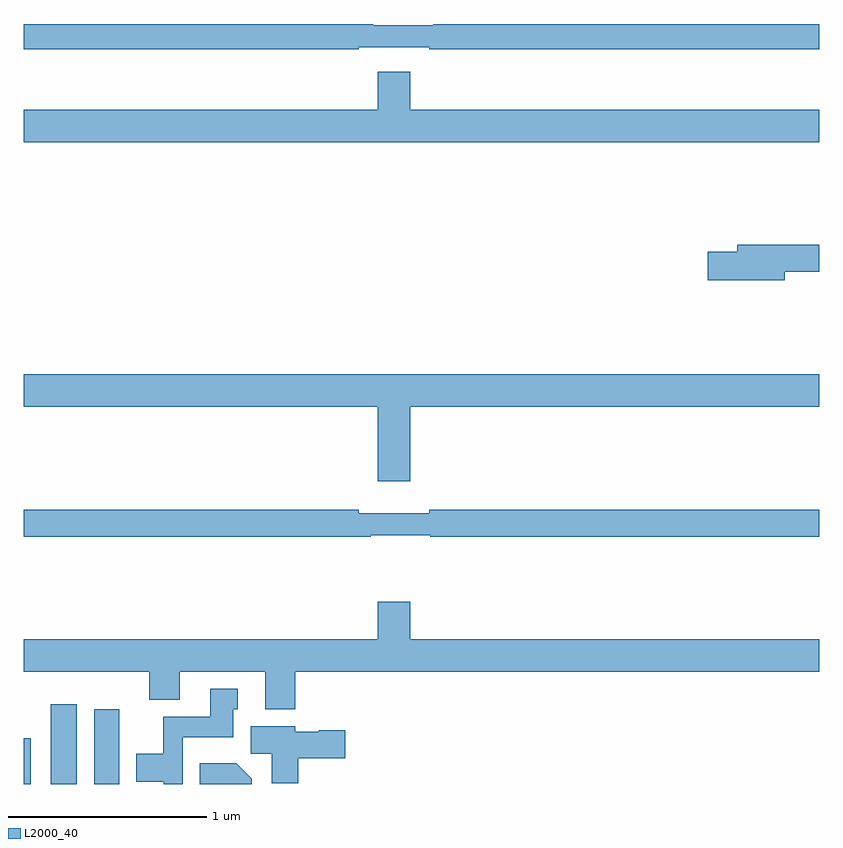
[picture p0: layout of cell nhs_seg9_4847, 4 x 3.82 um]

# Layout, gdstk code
import gdstk
lib = gdstk.Library(unit=1e-6, precision=1e-09)
def R(c, l, rs):  # rectangles x0, y0, x1, y1
    for r in rs: c.add(gdstk.rectangle(r[:2], r[2:], *l))
def P(c, l, *ps):  # polygons
    for p in ps: c.add(gdstk.Polygon(p, *l))
L2000_40 = (2000, 40)

nhs_seg9_4847 = lib.new_cell('nhs_seg9_4847')
R(nhs_seg9_4847, L2000_40, [(391,1218.5,391.036,1218.73), (391.136,1218.5,391.267,1218.901), (391.355,1218.5,391.48,1218.877)])
P(nhs_seg9_4847, L2000_40, [(392.684,1222.206),(393.04,1222.206),(393.04,1222.194),(395,1222.194),(395,1222.322),(393.058,1222.322),(393.058,1222.315),(392.758,1222.315),(392.758,1222.322),(391,1222.322),(391,1222.194),(392.684,1222.194)],
  [(395,1221.892),(392.944,1221.892),(392.944,1222.081),(392.78,1222.081),(392.78,1221.892),(391,1221.892),(391,1221.728),(395,1221.728)],
  [(394.828,1221.076),(395,1221.076),(395,1221.212),(394.589,1221.212),(394.589,1221.176),(394.44,1221.176),(394.44,1221.034),(394.828,1221.034)],
  [(392.944,1220.396),(395,1220.396),(395,1220.56),(391,1220.56),(391,1220.396),(392.78,1220.396),(392.78,1220.022),(392.944,1220.022)],
  [(392.745,1219.752),(393.045,1219.752),(393.045,1219.744),(395,1219.744),(395,1219.88),(393.04,1219.88),(393.04,1219.861),(392.684,1219.861),(392.684,1219.88),(391,1219.88),(391,1219.744),(392.745,1219.744)],
  [(392.366,1219.064),(395,1219.064),(395,1219.228),(392.944,1219.228),(392.944,1219.417),(392.78,1219.417),(392.78,1219.228),(391,1219.228),(391,1219.064),(391.631,1219.064),(391.631,1218.923),(391.783,1218.923),(391.783,1219.064),(392.213,1219.064),(392.213,1218.875),(392.366,1218.875)],
  [(391.8,1218.734),(392.053,1218.734),(392.053,1218.876),(392.077,1218.876),(392.077,1218.979),(391.937,1218.979),(391.937,1218.838),(391.702,1218.838),(391.702,1218.652),(391.565,1218.652),(391.565,1218.512),(391.704,1218.512),(391.704,1218.5),(391.8,1218.5)],
  [(392.381,1218.629),(392.617,1218.629),(392.617,1218.771),(392.484,1218.771),(392.484,1218.763),(392.364,1218.763),(392.364,1218.79),(392.141,1218.79),(392.141,1218.652),(392.246,1218.652),(392.246,1218.504),(392.381,1218.504)],
  [(392.146,1218.526),(392.068,1218.604),(391.885,1218.604),(391.885,1218.5),(392.146,1218.5)])

lib.write_gds('nhs_seg9_4847.gds')
